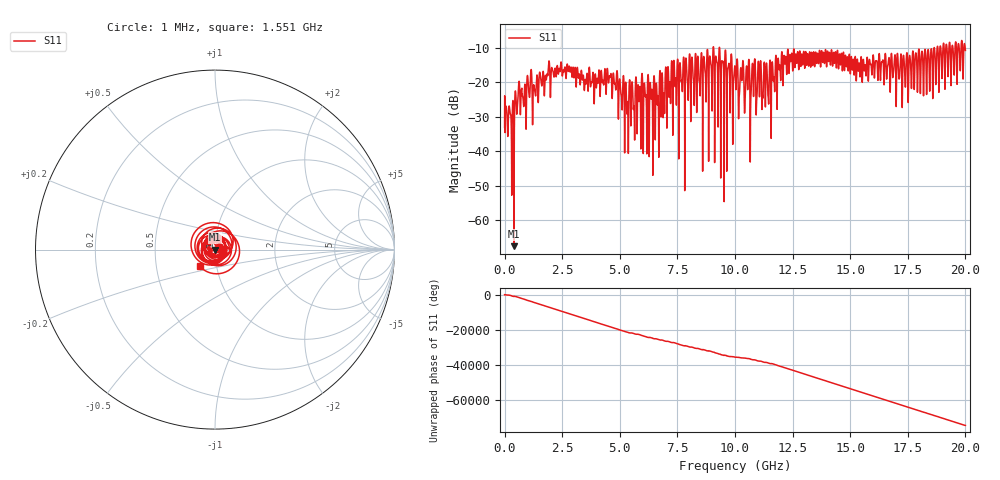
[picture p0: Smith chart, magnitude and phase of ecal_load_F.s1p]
! MS46122B
! 2250307/22442219
! 6/18/2025 1:18:24 PM
! C:\USERS\SPARKY\DOCUMENTS\VNA_DATA\JUNE18_2025\295K\ECAL_LOAD_F.S1P
! CHANNEL.1
! TR.MEASUREMENT
! RAW.DATA
# GHZ S RI R 50.0
! FREQ.GHZ  S11RE  S11IM
!; PortSelection: Port_1
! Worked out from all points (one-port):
!   10001 points, 1 MHz to 20 GHz, reference 50 ohm
!   lowest |S11| = -67.4 dB at 413 MHz (marker M1), VSWR 1.00, Z = 50 + j0.0288 ohm
!   |S11| at or under -10 dB: start of sweep to 9.054 GHz; 9.072 GHz to 9.319 GHz (247.6 MHz wide, 2.69 % of centre); 9.329 GHz to 18.65 GHz (9.318 GHz wide, 66.6 % of centre) (the widest 3 of 14)
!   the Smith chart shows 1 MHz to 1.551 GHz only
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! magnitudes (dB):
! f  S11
! 1 MHz  -33.1
! 333 MHz  -30.2
! 413 MHz  -67.4
! 551 MHz  -27.5
! 857 MHz  -23.2
! 1.075 GHz  -24.3
! 1.285 GHz  -21.5
! 1.863 GHz  -17.7
! 2.501 GHz  -18.1
! 3.813 GHz  -18.5
! 4.535 GHz  -18.7
! 5.001 GHz  -19.2
! 5.293 GHz  -26.3
! 5.487 GHz  -30.1
! 5.563 GHz  -23.3
! 6.031 GHz  -27.3
! 6.615 GHz  -24.1
! 7.173 GHz  -19.8
! 7.501 GHz  -13.7
! 8.087 GHz  -25.4
! 8.933 GHz  -13.9
! 8.991 GHz  -20.0
! 10 GHz  -15.3
! 11.49 GHz  -16.4
! 12.5 GHz  -16.4
! 15 GHz  -17.2
! 17.5 GHz  -17.7
! 20 GHz  -10.8
